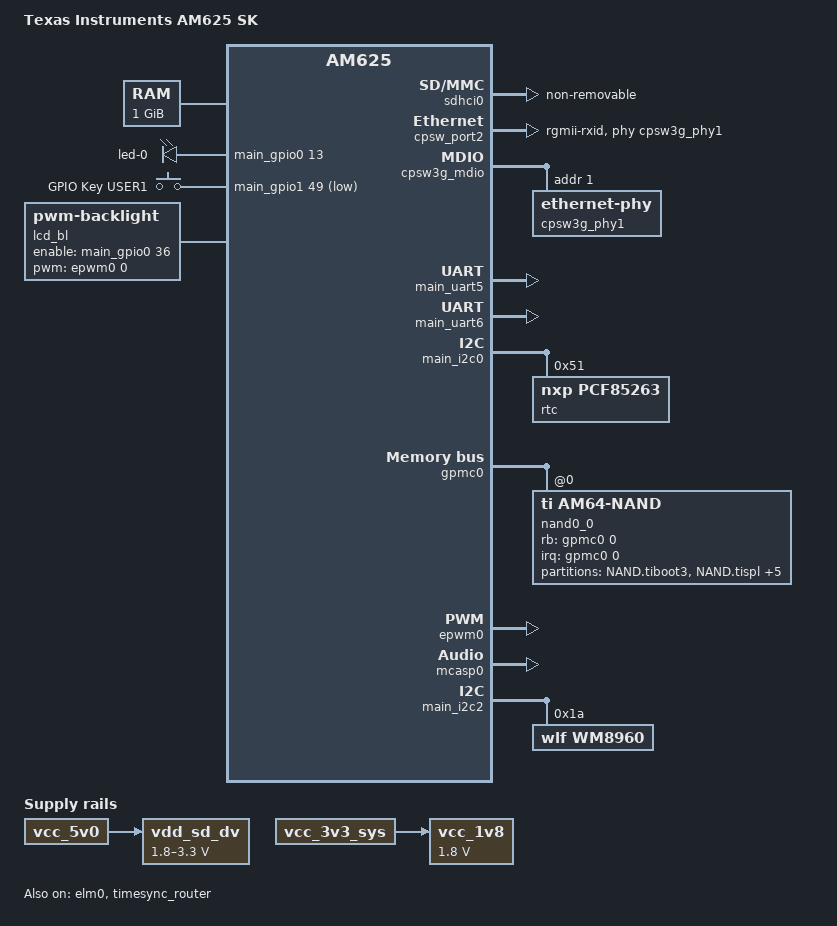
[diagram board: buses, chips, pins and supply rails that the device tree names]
// SPDX-License-Identifier: GPL-2.0-only OR MIT
/*
 * AM625 SK: https://www.ti.com/lit/zip/sprr448
 *
 * Copyright (C) 2021-2024 Texas Instruments Incorporated - https://www.ti.com/
 */

/dts-v1/;

#include "k3-am625.dtsi"
#include "k3-am62x-sk-common.dtsi"

#include <dt-bindings/input/input.h>
#include "k3-timesync-router.h"

/ {
	compatible = "ti,am625-sk", "ti,am625";
	model = "Texas Instruments AM625 SK";

	/delete-node/ clk-0;
	/delete-node/ connector-hdmi;

	aliases {
		serial5 = &main_uart5;
		serial6 = &main_uart6;
	};

	opp-table {
		/* Add 1.4GHz OPP for am625-sk board. Requires VDD_CORE to be at 0.85V */
		opp-1400000000 {
			opp-hz = /bits/ 64 <1400000000>;
			opp-supported-hw = <0x01 0x0004>;
			clock-latency-ns = <6000000>;
		};
	};

	memory@80000000 {
		bootph-pre-ram;
		device_type = "memory";
		/* ===== CRZ CHANGED: 1G RAM fitted (1x MT40A512M16JY, 8Gb x16).
		 * Do NOT claim 2G here: U-Boot sizes ram_top/relocation and the
		 * A53 SPL's fixup_memory_node() from this value, and on SDK 11.02
		 * BL31 lives at 0x80000000 - any RAM-probe/over-claim corrupts or
		 * faults against the firewalled ATF region. ===== */
		reg = <0x00000000 0x80000000 0x00000000 0x40000000>;

	};

	vdd_sd_dv: regulator-4 {
		/* Output of TLV71033 */
		bootph-all;
		compatible = "regulator-gpio";
		regulator-name = "tlv71033";
		pinctrl-names = "default";
		pinctrl-0 = <&vdd_sd_dv_pins_default>;
		regulator-min-microvolt = <1800000>;
		regulator-max-microvolt = <3300000>;
		regulator-boot-on;
		vin-supply = <&vcc_5v0>;
		gpios = <&main_gpio0 31 GPIO_ACTIVE_HIGH>;
		states = <1800000 0x0>,
			 <3300000 0x1>;
	};

	vcc_1v8: regulator-5 {
		/* output of TPS6282518DMQ */
		compatible = "regulator-fixed";
		regulator-name = "vcc_1v8";
		regulator-min-microvolt = <1800000>;
		regulator-max-microvolt = <1800000>;
		vin-supply = <&vcc_3v3_sys>;
		regulator-always-on;
		regulator-boot-on;
	};

	leds {
		led-0 {
			gpios = <&main_gpio0 13 GPIO_ACTIVE_HIGH>;
		};
	};

	gpio-keys {
		compatible = "gpio-keys";
		autorepeat;
		pinctrl-names = "default";
		pinctrl-0 = <&push_button_pins_default>;

		sw1 {
			label = "GPIO Key USER1";
			linux,code = <BTN_0>;
			gpios = <&main_gpio1 49 GPIO_ACTIVE_LOW>;
		};
	};

	lcd_bl: backlight {
		compatible = "pwm-backlight";
		pwms = <&epwm0 0 50000 0>;
		brightness-levels = <0 32 64 96 128 160 192 224 255>;
		default-brightness-level = <8>;
		/* ===== CRZ ADDED: backlight enable (GPMC0_BE1n.GPIO0_36, muxed in
		 * usr_led_pins_default); the old port relied on U-Boot splash leaving
		 * this pin high - Linux must own it now ===== */
		enable-gpios = <&main_gpio0 36 GPIO_ACTIVE_HIGH>;
	};
};

&vmain_pd {
	bootph-all;
};

&vcc_5v0 {
	bootph-all;
};

&vcc_3v3_sys {
	bootph-all;
};

&vdd_mmc1 {
	bootph-all;
	/delete-property/ gpio;
};

&main_pmx0 {
	main_mmc0_pins_default: main-mmc0-default-pins {
		bootph-all;
		pinctrl-single,pins = <
			AM62X_IOPAD(0x220, PIN_INPUT, 0) /* (Y3) MMC0_CMD */
			AM62X_IOPAD(0x218, PIN_INPUT, 0) /* (AB1) MMC0_CLK */
			AM62X_IOPAD(0x214, PIN_INPUT, 0) /* (AA2) MMC0_DAT0 */
			AM62X_IOPAD(0x210, PIN_INPUT_PULLUP, 0) /* (AA1) MMC0_DAT1 */
			AM62X_IOPAD(0x20c, PIN_INPUT_PULLUP, 0) /* (AA3) MMC0_DAT2 */
			AM62X_IOPAD(0x208, PIN_INPUT_PULLUP, 0) /* (Y4) MMC0_DAT3 */
			AM62X_IOPAD(0x204, PIN_INPUT_PULLUP, 0) /* (AB2) MMC0_DAT4 */
			AM62X_IOPAD(0x200, PIN_INPUT_PULLUP, 0) /* (AC1) MMC0_DAT5 */
			AM62X_IOPAD(0x1fc, PIN_INPUT_PULLUP, 0) /* (AD2) MMC0_DAT6 */
			AM62X_IOPAD(0x1f8, PIN_INPUT_PULLUP, 0) /* (AC2) MMC0_DAT7 */
		>;
	};

	main_rgmii2_pins_default: main-rgmii2-default-pins {
		bootph-all;
		pinctrl-single,pins = <
			AM62X_IOPAD(0x184, PIN_INPUT, 0) /* (AE23) RGMII2_RD0 */
			AM62X_IOPAD(0x188, PIN_INPUT, 0) /* (AB20) RGMII2_RD1 */
			AM62X_IOPAD(0x18c, PIN_INPUT, 0) /* (AC21) RGMII2_RD2 */
			AM62X_IOPAD(0x190, PIN_INPUT, 0) /* (AE22) RGMII2_RD3 */
			AM62X_IOPAD(0x180, PIN_INPUT, 0) /* (AD23) RGMII2_RXC */
			AM62X_IOPAD(0x17c, PIN_INPUT, 0) /* (AD22) RGMII2_RX_CTL */
			AM62X_IOPAD(0x16c, PIN_OUTPUT, 0) /* (Y18) RGMII2_TD0 */
			AM62X_IOPAD(0x170, PIN_OUTPUT, 0) /* (AA18) RGMII2_TD1 */
			AM62X_IOPAD(0x174, PIN_OUTPUT, 0) /* (AD21) RGMII2_TD2 */
			AM62X_IOPAD(0x178, PIN_OUTPUT, 0) /* (AC20) RGMII2_TD3 */
			AM62X_IOPAD(0x168, PIN_OUTPUT, 0) /* (AE21) RGMII2_TXC */
			AM62X_IOPAD(0x164, PIN_OUTPUT, 0) /* (AA19) RGMII2_TX_CTL */
		>;
	};

	vdd_sd_dv_pins_default: vdd-sd-dv-default-pins {
		bootph-all;
		pinctrl-single,pins = <
			AM62X_IOPAD(0x07c, PIN_OUTPUT, 7) /* (P25) GPMC0_CLK.GPIO0_31 */
		>;
	};

	main_gpio1_ioexp_intr_pins_default: main-gpio1-ioexp-intr-default-pins {
		bootph-all;
		pinctrl-single,pins = <
			AM62X_IOPAD(0x01d4, PIN_INPUT, 7) /* (B15) UART0_RTSn.GPIO1_23 */
		>;
	};

	push_button_pins_default: push-button-default-pins {
		pinctrl-single,pins = <
			AM62X_IOPAD(0x244, PIN_INPUT, 7) /* (C17/B15) MMC1_SDWP.GPIO1_49 */
		>;
	};

	main_usb0_pins_default: main-usb0-default-pins {
		pinctrl-single,pins = <
			AM62X_IOPAD(0x254, PIN_INPUT, 7) /* (C20/E17) USB0_DRVVBUS.GPIO1_50 */
		>;
	};

	gpmc0_pins_default: gpmc0-default-pins {
		pinctrl-single,pins = <
			AM62X_IOPAD(0x003c, PIN_INPUT, 0) /* (M25) GPMC0_AD0 */
			AM62X_IOPAD(0x0040, PIN_INPUT, 0) /* (N23) GPMC0_AD1 */
			AM62X_IOPAD(0x0044, PIN_INPUT, 0) /* (N24) GPMC0_AD2 */
			AM62X_IOPAD(0x0048, PIN_INPUT, 0) /* (N25) GPMC0_AD3 */
			AM62X_IOPAD(0x004c, PIN_INPUT, 0) /* (P24) GPMC0_AD4 */
			AM62X_IOPAD(0x0050, PIN_INPUT, 0) /* (P22) GPMC0_AD5 */
			AM62X_IOPAD(0x0054, PIN_INPUT, 0) /* (P21) GPMC0_AD6 */
			AM62X_IOPAD(0x0058, PIN_INPUT, 0) /* (R23) GPMC0_AD7 */
			AM62X_IOPAD(0x0084, PIN_OUTPUT, 0) /* (L23) GPMC0_ADVn_ALE */
			AM62X_IOPAD(0x0088, PIN_OUTPUT, 0) /* (L24) GPMC0_OEn_REn */
			AM62X_IOPAD(0x008c, PIN_OUTPUT, 0) /* (L25) GPMC0_WEn */
			AM62X_IOPAD(0x0090, PIN_OUTPUT, 0) /* (M24) GPMC0_BE0n_CLE */
			AM62X_IOPAD(0x00a8, PIN_OUTPUT, 0) /* (M21) GPMC0_CSn0 */
			AM62X_IOPAD(0x0098, PIN_INPUT, 0) /* (U23) GPMC0_WAIT0 */
		>;
	};

	main_epwm0_pins_default: main-epwm0-default-pins {
		pinctrl-single,pins = <
			AM62X_IOPAD(0x01ac, PIN_OUTPUT, 6) /* (E19/D15) MCASP0_AFSR.EHRPWM0_A */
		>;
	};

	main_mcasp0_pins_default: main-mcasp0-default-pins {
		pinctrl-single,pins = <
			AM62X_IOPAD(0x01a0, PIN_OUTPUT, 2) /* (E18/?) MCASP0_AXR0.AUDIO_EXT_REFCLK0 */
			AM62X_IOPAD(0x01a4, PIN_INPUT, 0) /* (B20/?) MCASP0_ACLKX */
			AM62X_IOPAD(0x01a8, PIN_INPUT, 0) /* (D20/?) MCASP0_AFSX */
			AM62X_IOPAD(0x019c, PIN_OUTPUT, 0) /* (B18/?) MCASP0_AXR1 */
			AM62X_IOPAD(0x0198, PIN_INPUT, 0) /* (A19/?) MCASP0_AXR2 */
		>;
	};

	main_oldi0_pins_default: main-oldi0-default-pins {
		pinctrl-single,pins = <
			AM62X_IOPAD(0x0260, PIN_OUTPUT, 0) /* (AA5) OLDI0_A0N */
			AM62X_IOPAD(0x025c, PIN_OUTPUT, 0) /* (Y6) OLDI0_A0P */
			AM62X_IOPAD(0x0268, PIN_OUTPUT, 0) /* (AD3) OLDI0_A1N */
			AM62X_IOPAD(0x0264, PIN_OUTPUT, 0) /* (AB4) OLDI0_A1P */
			AM62X_IOPAD(0x0270, PIN_OUTPUT, 0) /* (Y8) OLDI0_A2N */
			AM62X_IOPAD(0x026c, PIN_OUTPUT, 0) /* (AA8) OLDI0_A2P */
			AM62X_IOPAD(0x0278, PIN_OUTPUT, 0) /* (AB6) OLDI0_A3N */
			AM62X_IOPAD(0x0274, PIN_OUTPUT, 0) /* (AA7) OLDI0_A3P */
			AM62X_IOPAD(0x0280, PIN_OUTPUT, 0) /* (AC6) OLDI0_A4N */
			AM62X_IOPAD(0x027c, PIN_OUTPUT, 0) /* (AC5) OLDI0_A4P */
			AM62X_IOPAD(0x0288, PIN_OUTPUT, 0) /* (AE5) OLDI0_A5N */
			AM62X_IOPAD(0x0284, PIN_OUTPUT, 0) /* (AD6) OLDI0_A5P */
			AM62X_IOPAD(0x0290, PIN_OUTPUT, 0) /* (AE6) OLDI0_A6N */
			AM62X_IOPAD(0x028c, PIN_OUTPUT, 0) /* (AD7) OLDI0_A6P */
			AM62X_IOPAD(0x0298, PIN_OUTPUT, 0) /* (AD8) OLDI0_A7N */
			AM62X_IOPAD(0x0294, PIN_OUTPUT, 0) /* (AE7) OLDI0_A7P */
			AM62X_IOPAD(0x02a0, PIN_OUTPUT, 0) /* (AD4) OLDI0_CLK0N */
			AM62X_IOPAD(0x029c, PIN_OUTPUT, 0) /* (AE3) OLDI0_CLK0P */
			AM62X_IOPAD(0x02a8, PIN_OUTPUT, 0) /* (AE4) OLDI0_CLK1N */
			AM62X_IOPAD(0x02a4, PIN_OUTPUT, 0) /* (AD5) OLDI0_CLK1P */
		>;
	};

	main_uart5_pins_default: main-uart5-default-pins {
		pinctrl-single,pins = <
			AM62X_IOPAD(0x1d8, PIN_INPUT, 1) /* (C15/B13) MCAN0_TX.UART5_RXD */
			AM62X_IOPAD(0x1dc, PIN_OUTPUT, 1) /* (E15/A15) MCAN0_RX.UART5_TXD */
		>;
	};

	main_uart6_pins_default: main-uart6-default-pins {
		pinctrl-single,pins = <
			AM62X_IOPAD(0x01c, PIN_INPUT, 3) /* (J23/G21) OSPI0_D4.UART6_RXD */
			AM62X_IOPAD(0x020, PIN_OUTPUT, 3) /* (J25/H21) OSPI0_D5.UART6_TXD */
			AM62X_IOPAD(0x024, PIN_OUTPUT, 7) /* (H25/G20) OSPI0_D6.GPIO0_9 */
			AM62X_IOPAD(0x028, PIN_OUTPUT, 7) /* (J22/J21) OSPI0_D7.GPIO0_10 */
		>;
	};
};

&usr_led_pins_default {
	pinctrl-single,pins = <
		AM62X_IOPAD(0x034, PIN_OUTPUT, 7) /* (H21/G18) OSPI0_CSn2.GPIO0_13 */
		AM62X_IOPAD(0x000, PIN_OUTPUT, 7) /* (H24/G19) OSPI0_CLK.GPIO0_0 */
		AM62X_IOPAD(0x038, PIN_OUTPUT, 7) /* (E24/E18) OSPI0_CSn3.GPIO0_14 */
		AM62X_IOPAD(0x094, PIN_OUTPUT, 7) /* (N20/K19) GPMC0_BE1n.GPIO0_36 */
	>;
};

&main_usb1_pins_default {
	pinctrl-single,pins = <
		AM62X_IOPAD(0x0258, PIN_INPUT, 7) /* (F18/E16) USB1_DRVVBUS.GPIO1_51 */
	>;
};

&main_gpio0 {
	bootph-all;
};

&main_gpio1 {
	bootph-all;
};

&main_i2c1 {
	bootph-all;
	/delete-node/ audio-codec@1b;
	/delete-node/ bridge-hdmi@3b;
};

&sdhci0 {
	bootph-all;
	non-removable;
	pinctrl-names = "default";
	pinctrl-0 = <&main_mmc0_pins_default>;
	status = "okay";
};

&sdhci1 {
	/delete-property/ vmmc-supply;
	/delete-property/ vqmmc-supply;
	no-1-8-v;
};

&sdhci2 {
	status = "disabled";
};

&cpsw3g {
	pinctrl-names = "default";
	pinctrl-0 = <&main_rgmii1_pins_default>, <&main_rgmii2_pins_default>;

	cpts@3d000 {
		/* MAP HW3_TS_PUSH to GENF1 */
		ti,pps = <2 1>;
	};
};

&cpsw_port2 {
	phy-mode = "rgmii-rxid";
	phy-handle = <&cpsw3g_phy1>;
};

&cpsw3g_mdio {
	cpsw3g_phy1: ethernet-phy@1 {
		reg = <1>;
		ti,rx-internal-delay = <DP83867_RGMIIDCTL_2_00_NS>;
		ti,fifo-depth = <DP83867_PHYCR_FIFO_DEPTH_4_B_NIB>;
		ti,min-output-impedance;
	};
};

&fss {
	bootph-all;
};

&ospi0 {
	/delete-property/ pinctrl-names;
	/delete-property/ pinctrl-0;
	status = "disabled";

	flash@0 {
		bootph-all;
		compatible = "jedec,spi-nor";
		reg = <0x0>;
		spi-tx-bus-width = <8>;
		spi-rx-bus-width = <8>;
		spi-max-frequency = <25000000>;
		cdns,tshsl-ns = <60>;
		cdns,tsd2d-ns = <60>;
		cdns,tchsh-ns = <60>;
		cdns,tslch-ns = <60>;
		cdns,read-delay = <4>;
		cdns,phy-mode;

		partitions {
			bootph-all;
			compatible = "fixed-partitions";
			#address-cells = <1>;
			#size-cells = <1>;

			partition@0 {
				label = "ospi.tiboot3";
				reg = <0x0 0x80000>;
			};

			partition@80000 {
				label = "ospi.tispl";
				reg = <0x80000 0x200000>;
			};

			partition@280000 {
				label = "ospi.u-boot";
				reg = <0x280000 0x400000>;
			};

			partition@680000 {
				label = "ospi.env";
				reg = <0x680000 0x40000>;
			};

			partition@6c0000 {
				label = "ospi.env.backup";
				reg = <0x6c0000 0x40000>;
			};

			partition@800000 {
				label = "ospi.rootfs";
				reg = <0x800000 0x37c0000>;
			};

			partition@3fc0000 {
				bootph-pre-ram;
				label = "ospi.phypattern";
				reg = <0x3fc0000 0x40000>;
			};
		};
	};
};

&codec_audio {
	simple-audio-card,name = "AM62x-SKEVM";
	simple-audio-card,widgets =
		"Headphone", "Headphone Jack",
		"Line", "Line In",
		"Speaker", "Ext Spk",
		"Microphone", "Microphone Jack";
	simple-audio-card,routing =
		"Playback", "HP_L",
		"Playback", "HP_R",
		"Playback", "SPK_LP",
		"Playback", "SPK_LN",
		"Playback", "SPK_RP",
		"Playback", "SPK_RN",
		"Headphone Jack", "HP_L",
		"Headphone Jack", "HP_R",
		"Ext Spk", "SPK_LP",
		"Ext Spk", "SPK_LN",
		"Ext Spk", "SPK_RP",
		"Ext Spk", "SPK_RN",
		"LINPUT1", "MICB";
	simple-audio-card,format = "i2s";
	/delete-property/ simple-audio-card,bitclock-master;
	/delete-property/ simple-audio-card,frame-master;
	/delete-property/ simple-audio-card,bitclock-inversion;
	simple-audio-card,system-clock-direction-out;

	simple-audio-card,cpu {
		sound-dai = <&mcasp0>;
		system-clock-frequency = <24000000>;
		system-clock-direction-out;
	};

	simple-audio-card,codec {
		sound-dai = <&wm8960>;
		system-clock-frequency = <24000000>;
		/delete-property/ clocks;
	};
};

&main_uart5 {
	status = "okay";
	pinctrl-names = "default";
	pinctrl-0 = <&main_uart5_pins_default>;
};

&main_uart6 {
	status = "okay";
	pinctrl-names = "default";
	pinctrl-0 = <&main_uart6_pins_default>;
	rs485-rts-delay = <1 1>;
	rs485-rts-active-high;
	rs485-rx-during-tx;
	rs485-rts-gpios = <&main_gpio0 9 GPIO_ACTIVE_HIGH>;
	rs485-term-gpios = <&main_gpio0 10 GPIO_ACTIVE_HIGH>;
	linux,rs485-enabled-at-boot-time;
};

&main_i2c0 {
	/delete-node/ eeprom@51;
	/delete-node/ tps6598x@3f;

	rtc@51 {
		compatible = "nxp,pcf85263";
		reg = <0x51>;
	};
};

&usb0 {
	pinctrl-names = "default";
	pinctrl-0 = <&main_usb0_pins_default>;
	/delete-property/ #address-cells;
	/delete-property/ #size-cells;
	/delete-node/ port;
};

&dss_ports {
	/delete-property/ #address-cells;
	/delete-property/ #size-cells;
	/delete-node/ port@1;
};

&elm0 {
	status = "okay";
};

&gpmc0 {
	pinctrl-names = "default";
	pinctrl-0 = <&gpmc0_pins_default>;
	status = "okay";
	ranges = <0 0 0x00 0x51000000 0x01000000>;
	#address-cells = <2>;
	#size-cells = <1>;

	nand0_0: nand@0,0 {
		compatible = "ti,am64-nand";
		reg = <0 0 64>;
		interrupt-parent = <&gpmc0>;
		interrupts = <0 IRQ_TYPE_NONE>, <1 IRQ_TYPE_NONE>;
		rb-gpios = <&gpmc0 0 GPIO_ACTIVE_HIGH>;
		ti,nand-xfer-type = "prefetch-polled";
		ti,nand-ecc-opt = "bch8";
		ti,elm-id = <&elm0>;
		nand-bus-width = <8>;
		gpmc,device-width = <1>;
		gpmc,sync-clk-ps = <0>;
		gpmc,cs-on-ns = <0>;
		gpmc,cs-rd-off-ns = <40>;
		gpmc,cs-wr-off-ns = <40>;
		gpmc,adv-on-ns = <0>;
		gpmc,adv-rd-off-ns = <25>;
		gpmc,adv-wr-off-ns = <25>;
		gpmc,we-on-ns = <0>;
		gpmc,we-off-ns = <20>;
		gpmc,oe-on-ns = <3>;
		gpmc,oe-off-ns = <30>;
		gpmc,access-ns = <30>;
		gpmc,rd-cycle-ns = <40>;
		gpmc,wr-cycle-ns = <40>;
		gpmc,bus-turnaround-ns = <0>;
		gpmc,cycle2cycle-delay-ns = <0>;
		gpmc,clk-activation-ns = <0>;
		gpmc,wr-access-ns = <40>;
		gpmc,wr-data-mux-bus-ns = <0>;

		partitions {
			compatible = "fixed-partitions";
			#address-cells = <1>;
			#size-cells = <1>;

			partition@0 {
				label = "NAND.tiboot3";
				reg = <0x00000000 0x00200000>;
			};

			partition@200000 {
				label = "NAND.tispl";
				reg = <0x00200000 0x00200000>;
			};

			partition@400000 {
				label = "NAND.tiboot3.backup";
				reg = <0x00400000 0x00200000>;
			};

			partition@600000 {
				label = "NAND.u-boot";
				reg = <0x00600000 0x00400000>;
			};

			partition@a00000 {
				label = "NAND.u-boot-env";
				reg = <0x00a00000 0x00040000>;
			};

			partition@a40000 {
				label = "NAND.u-boot-env.backup";
				reg = <0x00a40000 0x00040000>;
			};

			partition@a80000 {
				label = "NAND.file-system";
				reg = <0x00a80000 0x0f580000>;
			};
		};
	};
};

&epwm0 {
	pinctrl-names = "default";
	pinctrl-0 = <&main_epwm0_pins_default>;
	status = "okay";
};

&mcasp1 {
	status = "disabled";
};

&mcasp0 {
	status = "okay";
	#sound-dai-cells = <0>;
	pinctrl-names = "default";
	pinctrl-0 = <&main_mcasp0_pins_default>;
	op-mode = <0>;
	tdm-slots = <2>;
	serial-dir = <
		0 1 2 0
		0 0 0 0
		0 0 0 0
		0 0 0 0
	>;
	tx-num-evt = <32>;
	rx-num-evt = <32>;
};

&audio_refclk0 {
	assigned-clock-parents = <&k3_clks 157 7>;
	assigned-clock-rates = <24000000>;
};

&main_i2c2 {
	wm8960: audio-codec@1a {
		#sound-dai-cells = <0>;
		compatible = "wlf,wm8960";
		reg = <0x1a>;
		status = "okay";
		wlf,shared-lrclk;
	};
};

&dss {
	pixel-format = "BGR24";
	pinctrl-names = "default";
	pinctrl-0 = <&main_oldi0_pins_default &main_dss0_pins_default>;
};

&timesync_router {
	mux-reg-masks-state = <
		K3_TS_OFFSET(12, 0x0001ffff, 17)
		>;
	status = "okay";
};
